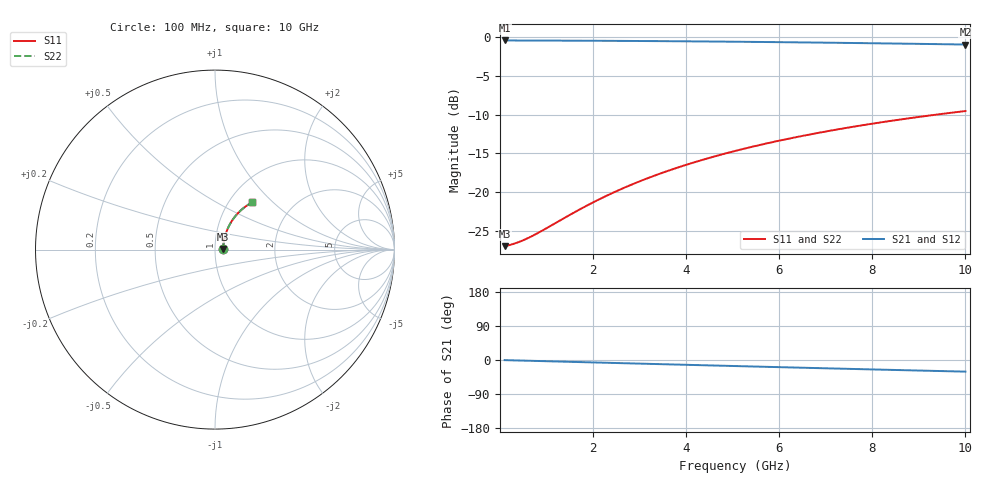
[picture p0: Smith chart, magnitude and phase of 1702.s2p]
# Hz S RI R 50.00
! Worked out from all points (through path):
!   100 points, 100 MHz to 10 GHz, reference 50 ohm
!   highest |S21| = -0.40 dB at 100 MHz (marker M1); lowest = -0.9 dB at 10 GHz (marker M2)
!   group delay of S21, straight-line fit = 8.55 ps
!   lowest |S11| = -27.0 dB at 100 MHz (marker M3), VSWR 1.09, Z = 54.7 + j0.37 ohm
!   |S11| at or under -10 dB: start of sweep to 9.359 GHz
!   |S22| runs from -27.0 to -9.5 dB; largest |S21 - S12| = 0
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1e8  0.0446 0.00338  0.9554 -0.00533  0.9554 -0.00533  0.0446 0.00338
3e8  0.0452 0.0101  0.9548 -0.016  0.9548 -0.016  0.0452 0.0101
4e8  0.0455 0.0135  0.9545 -0.0213  0.9545 -0.0213  0.0455 0.0135
6e8  0.0461 0.0202  0.9538 -0.0319  0.9538 -0.0319  0.0461 0.0202
9e8  0.0473 0.0303  0.9525 -0.0478  0.9525 -0.0478  0.0473 0.0303
1.5e9  0.0505 0.0502  0.9491 -0.0795  0.9491 -0.0795  0.0505 0.0502
1.8e9  0.0525 0.06  0.9469 -0.0952  0.9469 -0.0952  0.0525 0.06
2.2e9  0.0557 0.0731  0.9434 -0.116  0.9434 -0.116  0.0557 0.0731
2.6e9  0.0594 0.0859  0.9393 -0.1367  0.9393 -0.1367  0.0594 0.0859
3e9  0.0637 0.0985  0.9345 -0.1571  0.9345 -0.1571  0.0637 0.0985
3.4e9  0.0684 0.1109  0.9292 -0.1773  0.9292 -0.1773  0.0684 0.1109
3.8e9  0.0738 0.123  0.9234 -0.1973  0.9234 -0.1973  0.0738 0.123
4.2e9  0.0796 0.1348  0.9169 -0.2169  0.9169 -0.2169  0.0796 0.1348
4.6e9  0.0859 0.1463  0.9099 -0.2363  0.9099 -0.2363  0.0859 0.1463
5.1e9  0.0944 0.1602  0.9005 -0.26  0.9005 -0.26  0.0944 0.1602
5.5e9  0.1017 0.171  0.8923 -0.2786  0.8923 -0.2786  0.1017 0.171
5.9e9  0.1094 0.1813  0.8837 -0.2968  0.8837 -0.2968  0.1094 0.1813
6.7e9  0.126 0.2008  0.8651 -0.332  0.8651 -0.332  0.126 0.2008
7.5e9  0.1439 0.2186  0.8449 -0.3655  0.8449 -0.3655  0.1439 0.2186
8.4e9  0.1655 0.2365  0.8204 -0.4012  0.8204 -0.4012  0.1655 0.2365
9.2e9  0.1857 0.2504  0.7974 -0.431  0.7974 -0.431  0.1857 0.2504
1e10  0.2066 0.2625  0.7733 -0.4589  0.7733 -0.4589  0.2066 0.2625
